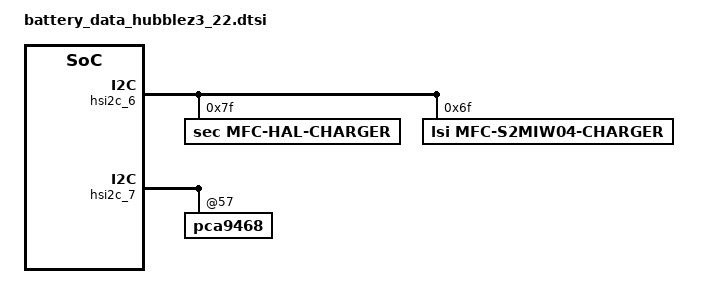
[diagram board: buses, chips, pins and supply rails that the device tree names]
/* SAMSUNG UNIVERSAL9830 board device tree source
 *
 * Copyright (c) 2018 Samsung Electronics Co., Ltd.
 *		http://www.samsung.com
 *
 * This program is free software; you can redistribute it and/or modify
 * it under the terms of the GNU General Public License version 2 as
 * published by the Free Software Foundation.
 */

#include "battery_data_hubble_common.dtsi"

/ {
	fragment@battery {
		target-path = "/";
		__overlay__ {
			battery {
				battery,temp_table_adc = <293 334 392 458 535 625 738 860 998 1164 1345 1546
					1764 2002 2238 2479 2707 2931 3135 3306 3443 3556 3644>;
				battery,temp_table_data = <900 850 800 750 700 650 600 550 500 450 400 350
					300 250 200 150 100 50 0 (-50) (-100) (-150) (-200)>;

				battery,usb_temp_table_adc = <275 322 380 450 530 624 734 861 1005 1171 1354 1555
					1775 2004 2240 2468 2695 2914 3103 3270 3398 3514 3610>;
				battery,usb_temp_table_data = <900 850 800 750 700 650 600 550 500 450 400 350
					300 250 200 150 100 50 0 (-50) (-100) (-150) (-200)>;

				battery,chg_temp_table_adc = <255 295 356 424 502 593 703 828 970 1135 1322 1525
					1748 1987 2230 2474 2706 2923 3123 3307 3452 3577 3679>;
				battery,chg_temp_table_data = <900 850 800 750 700 650 600 550 500 450 400 350
					300 250 200 150 100 50 0 (-50) (-100) (-150) (-200)>;

				battery,wpc_temp_table_adc = <293 334 392 458 535 625 738 860 998 1164 1345 1546
					1764 2002 2238 2479 2707 2931 3135 3306 3443 3556 3644>;
				battery,wpc_temp_table_data = <900 850 800 750 700 650 600 550 500 450 400 350
					300 250 200 150 100 50 0 (-50) (-100) (-150) (-200)>;

				battery,dchg_temp_table_adc = <103224 119646 145452 175950 211140 251022 297942 356592 419934 492660 574770 663918
					764796 870366 978282 1083852 1189422 1287954 1379448 1459212 1527246 1583550 1630470>;
				battery,dchg_temp_table_data = <900 850 800 750 700 650 600 550 500 450 400 350
					300 250 200 150 100 50 0 (-50) (-100) (-150) (-200)>;

				battery,swelling_low_temp_current = <1150>;	/* 0.24C */
				battery,swelling_low_temp_current_2nd = <450>;	/* 0.1C */
				battery,swelling_low_temp_current_3rd = <3450>;	/* 0.72C */
				battery,swelling_low_temp_topoff = <242>;	/* 0.05C */
				battery,swelling_high_temp_current = <1700>;	/* 0.36C */
				battery,swelling_high_temp_topoff = <242>;	/* 0.05C */
				battery,swelling_wc_high_temp_current = <1150>;	/* 0.24C */
				battery,swelling_wc_low_temp_current = <1150>;	/* 0.24C */
 				battery,swelling_wc_low_temp_current_2nd = <450>;	/* 0.1C */
				battery,swelling_wc_low_temp_current_3rd = <3450>;	/* 0.72C */

				battery,max_charging_charge_power = <45000>; /* 45W */
				battery,battery_full_capacity = <5000>;

				battery,dchg_high_temp = <570>;
				battery,dchg_high_temp_recovery = <440>;

				battery,wpc_high_temp = <370>;
				battery,wpc_high_temp_recovery = <350>;
				battery,wpc_lcd_on_high_temp = <370>;
				battery,wpc_lcd_on_high_temp_rec = <350>;

				battery,dc_step_chg_cond_vol = <4130 4290 4380>; /*<45w 3step> STEP_CHARGING_CONDITION_VOLTAGE */ 
				battery,dc_step_chg_cond_iin = <3160 2255 0>; /* <45w 3step> STEP_CHARGING_CONDITION_INPUT_CURRENT */
				battery,dc_step_chg_val_vfloat = <4130 4290 4380>; /* <45w 3step> STEP_CHARGING_CONDITION_FLOAT_VOLTAGE */
				battery,dc_step_chg_val_iout = <8000 6320 4510>; /* <45w 3step> */
				battery,dc_step_chg_cond_soc = <20 60 100>; /* <45w 3step> STEP_CHARGING_CONDITION_SOC */

				battery,snkcap_data = /bits/ 8 <0x04 0x2C 0x91 0x01 0x36 0xC8 0xD0 0x02 0x00 0xC8 0x90
								0x41 0x8B 0x51 0x21 0xDC 0xC0>;
			};

			max77705-fuelgauge {
				fuelgauge,fg_resistor = <5>;
				fuelgauge,qrtable20 = <0x1000>;
				fuelgauge,qrtable30 = <0x0B00>;
				fuelgauge,capacity = <0x0708>;
				fuelgauge,ttf_capacity = <5000>;
			};

			cable-info {
				full_check_current_1st = <727>;
				full_check_current_2nd = <242>;
			};
		};
	};
};


&pinctrl_0 {
	pdet-b {
		samsung,pin-pud = <0>;
	};

	ping-nen {
		samsung,pin-pud = <0>;
	};

	wchg-pdrc {
		samsung,pin-function = <0xf>;
		samsung,pin-pud = <0>;
	};
};

&hsi2c_6 {
	mfc-hal-charger@7f {
		compatible = "sec,mfc-hal-charger";
		reg = <0x7f>;
		status = "okay";

		battery,wpc_det = <&gpa2 0 0>;

		battery,charger_name = "max77705-charger";
	};

	mfc-s2miw04-charger@6f {
		compatible = "lsi,mfc-s2miw04-charger";
		reg = <0x6f>;
		status = "okay";

		pinctrl-names = "default";
		pinctrl-0 = <&pdet_b &wpc_det &ping_nen &wchg_pdrc &wpc_en &wpc_int>;

		battery,wpc_int = <&gpa3 1 0>;
		battery,wpc_det = <&gpa2 0 0>;
		battery,pdet_b = <&gpa2 6 0>;
		battery,mst_pwr_en = <&gpm18 0 0>;
		battery,ping_nen = <&gpa2 1 0>;
		battery,wpc_pdrc = <&gpa4 1 0>;

		battery,charger_name = "max77705-charger";
		battery,fuelgauge_name = "max77705-fuelgauge";
		battery,wireless_charger_name = "mfc-charger";
		battery,fod_data = <0x06 0xAA 0x06 0xAA 0x06 0xAA 0x06 0x99 0x06 0x99 0x06 0x99 0x0C 0x85 0x0C 0x85 0x08 0x9E 0x08 0x9E>;
		battery,fod_data_cv = <0x06 0xAA 0x06 0xAA 0x06 0xAA 0x06 0x99 0x06 0x99 0x06 0x99 0x0C 0x85 0x0C 0x85 0x08 0x9E 0x08 0x9E>;
		battery,fod_dream_data = <0x06 0xAA 0x06 0xAA 0x06 0xAA 0x06 0x99 0x06 0x99 0x06 0x99 0x0C 0x71 0x0C 0x71 0x08 0x9E 0x08 0x9E>;
		battery,fod_dream_cv_data = <0x06 0xAA 0x06 0xAA 0x06 0xAA 0x06 0x99 0x06 0x99 0x06 0x99 0x0C 0x71 0x0C 0x71 0x08 0x9E 0x08 0x9E>;
		battery,wc_cover_rpp = <0x44>;
		battery,phone_fod_threshold = <0x3b>;
		battery,oc_fod1 = <1100>;
		battery,wireless20_vout_list = <9 9 9>; /* WIRELESS_VOUT_11V, 11V, 11V */
		battery,wireless20_vrect_list = <10 11 11>; /* MFC_AFC_CONF_12V_TX, 12.5V, 12.5V */
		battery,wireless20_max_power_list = <2 3 3>; /* SEC_WIRELESS_RX_POWER_12W, 15W, 15W */
	};
};

&hsi2c_7 {
	pca9468@57 {
		pca9468,input-itopoff = <400000>; /* 400mA */
	};
};
